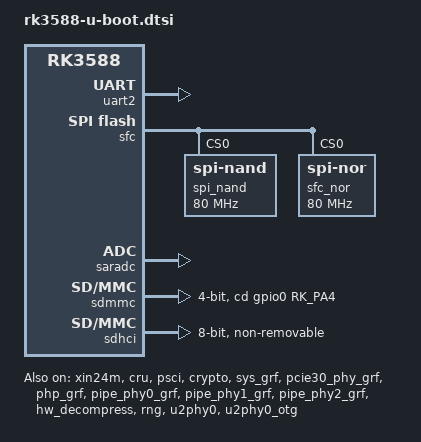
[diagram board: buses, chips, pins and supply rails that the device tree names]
/*
 * (C) Copyright 2021 Rockchip Electronics Co., Ltd
 *
 * SPDX-License-Identifier:     GPL-2.0+
 */

#include <dt-bindings/gpio/gpio.h>

/ {
	aliases {
		mmc0 = &sdhci;
		mmc1 = &sdmmc;
	};

	chosen {
		stdout-path = &uart2;
		u-boot,spl-boot-order = &sdmmc, &sdhci, &spi_nand, &spi_nor;
	};

	secure-otp@fe3a0000 {
		u-boot,dm-spl;
		compatible = "rockchip,rk3588-secure-otp";
		reg = <0x0 0xfe3a0000 0x0 0x4000>;
	};
};

&firmware {
	u-boot,dm-spl;
};

&gpio0 {
	u-boot,dm-spl;
	status = "okay";
};
&gpio1 {
	u-boot,dm-pre-reloc;
	status = "okay";
};

&gpio2 {
	u-boot,dm-pre-reloc;
	status = "okay";
};
&gpio3 {
	u-boot,dm-pre-reloc;
	status = "okay";
};

&gpio4 {
	u-boot,dm-pre-reloc;
	status = "okay";
};

&scmi {
	u-boot,dm-spl;
};

&scmi_clk {
	u-boot,dm-spl;
};

&sram {
	u-boot,dm-spl;
};

&scmi_shmem {
	u-boot,dm-spl;
};

&xin24m {
	u-boot,dm-pre-reloc;
	status = "okay";
};

&cru {
	u-boot,dm-spl;
	status = "okay";
};

&psci {
	u-boot,dm-pre-reloc;
	status = "okay";
};

&crypto {
	u-boot,dm-spl;
	status = "okay";
};

&sys_grf {
	u-boot,dm-spl;
	status = "okay";
};

&pcie30_phy_grf {
	u-boot,dm-pre-reloc;
	status = "okay";
};

&php_grf {
	u-boot,dm-pre-reloc;
	status = "okay";
};

&pipe_phy0_grf {
	u-boot,dm-pre-reloc;
	status = "okay";
};

&pipe_phy1_grf {
	u-boot,dm-pre-reloc;
	status = "okay";
};

&pipe_phy2_grf {
	u-boot,dm-pre-reloc;
	status = "okay";
};

&uart2 {
	u-boot,dm-spl;
	status = "okay";
};

&hw_decompress {
	u-boot,dm-spl;
	status = "okay";
};

&rng {
	u-boot,dm-pre-reloc;
	status = "okay";
};

&sfc {
	u-boot,dm-spl;
	status = "okay";

	#address-cells = <1>;
	#size-cells = <0>;
	spi_nand: flash@0 {
		u-boot,dm-spl;
		compatible = "spi-nand";
		reg = <0>;
		spi-tx-bus-width = <1>;
		spi-rx-bus-width = <4>;
		spi-max-frequency = <80000000>;
	};

	spi_nor: flash@1 {
		u-boot,dm-spl;
		compatible = "jedec,spi-nor";
		label = "sfc_nor";
		reg = <0>;
		spi-tx-bus-width = <1>;
		spi-rx-bus-width = <4>;
		spi-max-frequency = <80000000>;
	};
};

&saradc {
	u-boot,dm-pre-reloc;
	status = "okay";
};

&sdmmc {
	bus-width = <4>;
	u-boot,dm-spl;
	cd-gpios = <&gpio0 RK_PA4 GPIO_ACTIVE_HIGH>;
	status = "okay";
};

&sdhci {
	bus-width = <8>;
	u-boot,dm-spl;
	mmc-hs200-1_8v;
	non-removable;
	status = "okay";
};

&usb2phy0_grf {
	u-boot,dm-pre-reloc;
};

&u2phy0 {
	u-boot,dm-pre-reloc;
	status = "okay";
};

&u2phy0_otg {
	u-boot,dm-pre-reloc;
	status = "okay";
};

/* Support SPL-PINCTRL:
 * 1. ioc
 * 2. pinctrl(sdmmc)
 * 3. gpio if need
 */
&ioc {
	u-boot,dm-spl;
};

&pinctrl {
	u-boot,dm-spl;
	/delete-node/ sdmmc;
	sdmmc {
		u-boot,dm-spl;
		sdmmc_bus4: sdmmc-bus4 {
			u-boot,dm-spl;
			rockchip,pins =
				/* sdmmc_d0 */
				<4 RK_PD0 1 &pcfg_pull_up_drv_level_2>,
				/* sdmmc_d1 */
				<4 RK_PD1 1 &pcfg_pull_up_drv_level_2>,
				/* sdmmc_d2 */
				<4 RK_PD2 1 &pcfg_pull_up_drv_level_2>,
				/* sdmmc_d3 */
				<4 RK_PD3 1 &pcfg_pull_up_drv_level_2>;
		};

		sdmmc_clk: sdmmc-clk {
			u-boot,dm-spl;
			rockchip,pins =
				/* sdmmc_clk */
				<4 RK_PD5 1 &pcfg_pull_up_drv_level_2>;
		};

		sdmmc_cmd: sdmmc-cmd {
			u-boot,dm-spl;
			rockchip,pins =
				/* sdmmc_cmd */
				<4 RK_PD4 1 &pcfg_pull_up_drv_level_2>;
		};

		sdmmc_det: sdmmc-det {
			u-boot,dm-spl;
			rockchip,pins =
				/* sdmmc_det */
				<0 RK_PA4 1 &pcfg_pull_up>;
		};

		sdmmc_pwren: sdmmc-pwren {
			u-boot,dm-spl;
			rockchip,pins =
				/* sdmmc_pwren */
				<0 RK_PA5 2 &pcfg_pull_none>;
		};
	};
};

&pcfg_pull_up_drv_level_2 {
	u-boot,dm-spl;
};

&pcfg_pull_up {
	u-boot,dm-spl;
};

&pcfg_pull_none
{
	u-boot,dm-spl;
};
